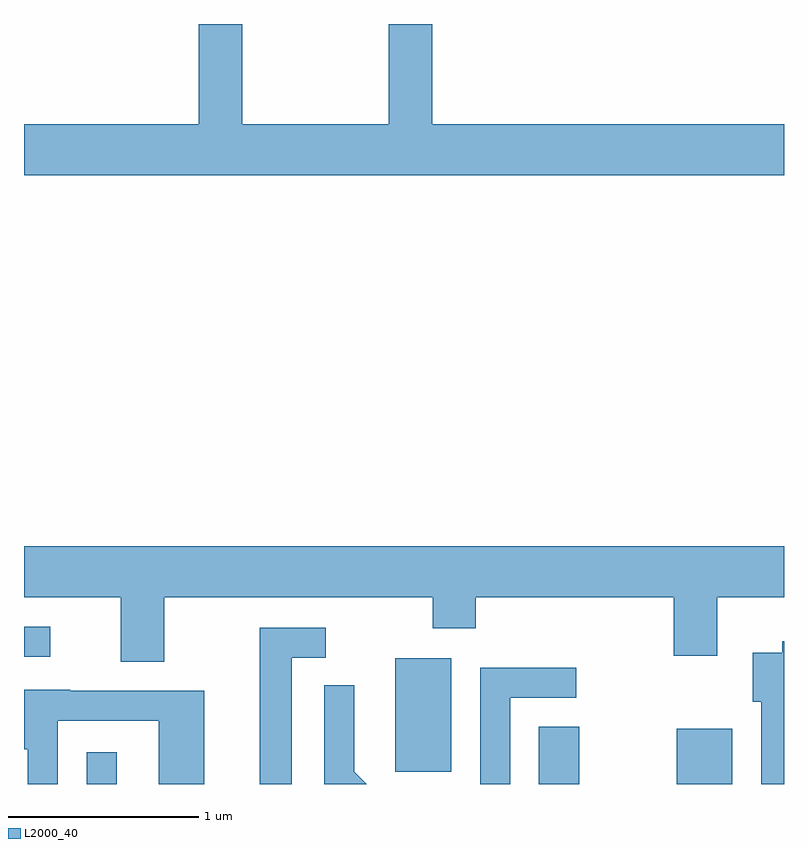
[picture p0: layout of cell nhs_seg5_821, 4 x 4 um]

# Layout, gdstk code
import gdstk
lib = gdstk.Library(unit=1e-6, precision=1e-09)
def R(c, l, rs):  # rectangles x0, y0, x1, y1
    for r in rs: c.add(gdstk.rectangle(r[:2], r[2:], *l))
def P(c, l, *ps):  # polygons
    for p in ps: c.add(gdstk.Polygon(p, *l))
L2000_40 = (2000, 40)

nhs_seg5_821 = lib.new_cell('nhs_seg5_821')
R(nhs_seg5_821, L2000_40, [(209.941,1418.072,210.099,1418.238), (212.321,1418.072,212.534,1418.374), (213.046,1418.072,213.339,1418.364), (211.566,1418.136,211.859,1418.734), (209.611,1418.741,209.748,1418.899)])
P(nhs_seg5_821, L2000_40, [(213.611,1421.544),(211.759,1421.544),(211.759,1422.072),(211.531,1422.072),(211.531,1421.544),(210.759,1421.544),(210.759,1422.072),(210.531,1422.072),(210.531,1421.544),(209.611,1421.544),(209.611,1421.276),(213.611,1421.276)],
  [(210.349,1419.056),(211.761,1419.056),(211.761,1418.891),(211.989,1418.891),(211.989,1419.056),(213.031,1419.056),(213.031,1418.746),(213.259,1418.746),(213.259,1419.056),(213.611,1419.056),(213.611,1419.324),(209.611,1419.324),(209.611,1419.056),(210.121,1419.056),(210.121,1418.716),(210.349,1418.716)],
  [(211.019,1418.736),(211.198,1418.736),(211.198,1418.894),(210.851,1418.894),(210.851,1418.072),(211.019,1418.072)],
  [(213.611,1418.824),(213.601,1418.824),(213.601,1418.764),(213.446,1418.764),(213.446,1418.506),(213.491,1418.506),(213.491,1418.072),(213.611,1418.072)],
  [(212.169,1418.526),(212.518,1418.526),(212.518,1418.684),(212.011,1418.684),(212.011,1418.072),(212.169,1418.072)],
  [(211.349,1418.137),(211.349,1418.593),(211.191,1418.593),(211.191,1418.072),(211.414,1418.072)],
  [(209.789,1418.406),(210.321,1418.406),(210.321,1418.072),(210.559,1418.072),(210.559,1418.564),(209.855,1418.564),(209.855,1418.569),(209.611,1418.569),(209.611,1418.256),(209.631,1418.256),(209.631,1418.072),(209.789,1418.072)])

lib.write_gds('nhs_seg5_821.gds')
